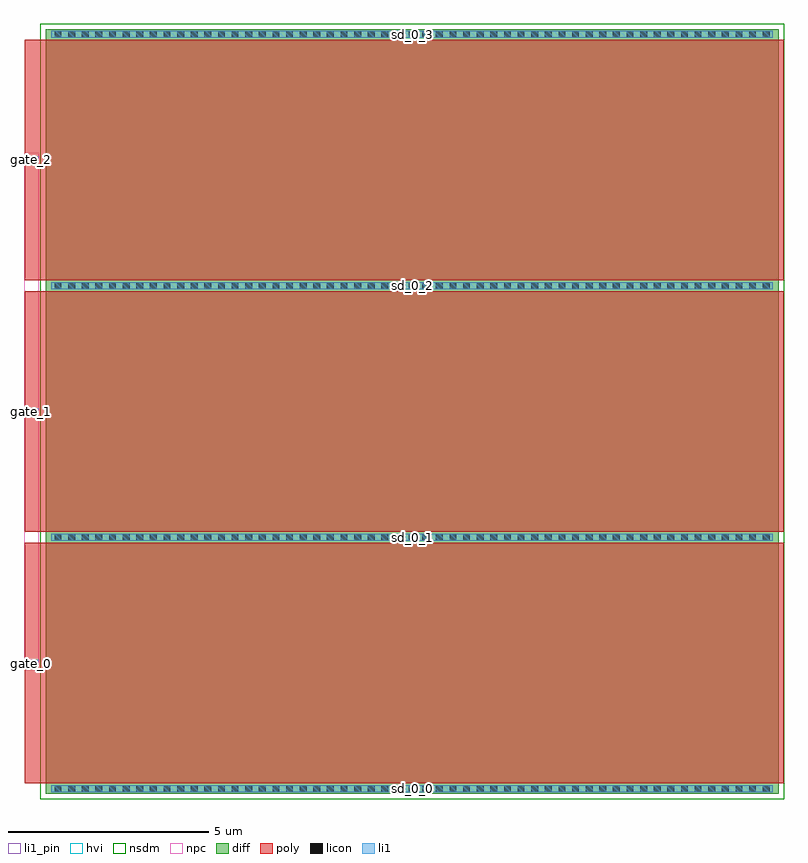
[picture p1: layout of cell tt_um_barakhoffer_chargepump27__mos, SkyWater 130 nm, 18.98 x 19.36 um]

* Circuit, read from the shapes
.subckt tt_um_barakhoffer_chargepump27__mos gate_0 gate_1 gate_2 sd_0_0 sd_0_1 sd_0_2 sd_0_3
XM1 sd_0_1 gate_0 sd_0_0 VSUBS sky130_fd_pr__nfet_g5v0d10v5 w=18.3 l=6
XM2 sd_0_2 gate_1 sd_0_1 VSUBS sky130_fd_pr__nfet_g5v0d10v5 w=18.3 l=6
XM3 sd_0_3 gate_2 sd_0_2 VSUBS sky130_fd_pr__nfet_g5v0d10v5 w=18.3 l=6
.ends

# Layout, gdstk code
import gdstk
lib = gdstk.Library(unit=1e-6, precision=1e-09)
def R(c, l, rs):  # rectangles x0, y0, x1, y1
    for r in rs: c.add(gdstk.rectangle(r[:2], r[2:], *l))
def A(c, l, x, y, w, h, nx, ny, dx, dy):  # array of equal rectangles
    R(c, l, [(x+i*dx, y+j*dy, x+i*dx+w, y+j*dy+h) for i in range(nx) for j in range(ny)])
diff = (65, 20)
poly = (66, 20)
licon = (66, 44)
li1_pin = (67, 16)
li1 = (67, 20)
hvi = (75, 20)
nsdm = (93, 44)
npc = (95, 20)

tt_um_barakhoffer_charge = lib.new_cell('tt_um_barakhoffer_chargepump27__mos')
A(tt_um_barakhoffer_charge, diff, 0.165, 0, 17.97, 0.25, 1, 4, 0, 6.28)
R(tt_um_barakhoffer_charge, diff, [(0,0,18.3,19.09)])
A(tt_um_barakhoffer_charge, poly, -0.52, 0.265, 0.33, 6, 1, 3, 0, 6.28)
A(tt_um_barakhoffer_charge, poly, -0.19, 0.265, 18.62, 6, 1, 3, 0, 6.28)
A(tt_um_barakhoffer_charge, poly, -0.52, 3.13, 0.33, 0.27, 1, 3, 0, 6.28)
A(tt_um_barakhoffer_charge, licon, 0.225, 0.04, 0.17, 0.17, 53, 4, 0.34, 6.28)
A(tt_um_barakhoffer_charge, licon, -0.44, 3.18, 0.17, 0.17, 1, 3, 0, 6.28)
A(tt_um_barakhoffer_charge, li1_pin, 0.145, 0.04, 18.01, 0.17, 1, 4, 0, 6.28)
A(tt_um_barakhoffer_charge, li1_pin, -0.52, 3.18, 0.33, 0.17, 1, 3, 0, 6.28)
R(tt_um_barakhoffer_charge, li1, [(0.145,0.04,18.155,0.21), (0.145,0.04,18.155,0.21), (-0.52,3.18,-0.19,3.35), (-0.52,3.18,-0.19,3.35), (0.145,6.32,18.155,6.49), (0.145,6.32,18.155,6.49), (-0.52,9.46,-0.19,9.63), (-0.52,9.46,-0.19,9.63), (0.145,12.6,18.155,12.77), (0.145,12.6,18.155,12.77), (-0.52,15.74,-0.19,15.91), (-0.52,15.74,-0.19,15.91), (0.145,18.88,18.155,19.05), (0.145,18.88,18.155,19.05)])
R(tt_um_barakhoffer_charge, hvi, [(-0.135,-0.135,18.435,19.225)])
R(tt_um_barakhoffer_charge, nsdm, [(-0.135,-0.135,18.435,19.225)])
A(tt_um_barakhoffer_charge, npc, -0.54, 3.08, 0.37, 0.37, 1, 3, 0, 6.28)
R(tt_um_barakhoffer_charge, npc, [(-0.54,3.08,-0.17,16.01)])
tt_um_barakhoffer_charge.add(gdstk.Label('sd_0_0', (9.15,0.125), layer=67, texttype=5))
tt_um_barakhoffer_charge.add(gdstk.Label('gate_0', (-0.355,3.265), layer=67, texttype=5))
tt_um_barakhoffer_charge.add(gdstk.Label('sd_0_1', (9.15,6.405), layer=67, texttype=5))
tt_um_barakhoffer_charge.add(gdstk.Label('sd_0_3', (9.15,18.965), layer=67, texttype=5))
tt_um_barakhoffer_charge.add(gdstk.Label('gate_1', (-0.355,9.545), layer=67, texttype=5))
tt_um_barakhoffer_charge.add(gdstk.Label('gate_2', (-0.355,15.825), layer=67, texttype=5))
tt_um_barakhoffer_charge.add(gdstk.Label('sd_0_2', (9.15,12.685), layer=67, texttype=5))

lib.write_gds('tt_um_barakhoffer_chargepump27__mos.gds')
